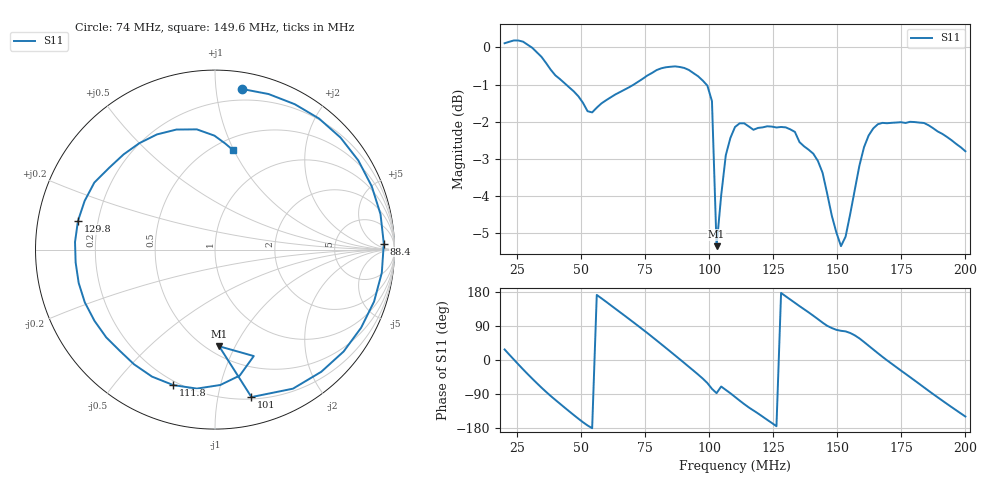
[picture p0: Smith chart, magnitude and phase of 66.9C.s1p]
# HZ S RI R 50
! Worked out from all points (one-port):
!   101 points, 20 MHz to 200 MHz, reference 50 ohm
!   lowest |S11| = -5.4 dB at 102.8 MHz (marker M1), VSWR 3.34, Z = 28.5 - j43.3 ohm
!   |S11| at or under -10 dB: nowhere
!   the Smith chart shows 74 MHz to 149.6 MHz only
!   S11 on the Smith chart (normalised r, x): 74 MHz: 0.12, +1.18; 88.4 MHz: 24, +14; 101 MHz: 0.22, -1.25; 111.8 MHz: 0.18, -0.72; 129.8 MHz: 0.12, +0.10; 149.6 MHz: 0.61, +0.99
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2e7  0.8963 0.4724
2.54e7  1 -0.2093
3.26e7  0.4746 -0.8632
3.8e7  -0.0795 -0.93
4.34e7  -0.5175 -0.7303
4.88e7  -0.7774 -0.3662
5.6e7  -0.8208 0.1189
6.5e7  -0.5186 0.699
7.4e7  0.1521 0.8947
8.12e7  0.6995 0.6239
8.84e7  0.9405 0.0339
9.56e7  0.7167 -0.5676
1.01e8  0.2031 -0.8217
1.028e8  0.0231 -0.5387
1.046e8  0.2161 -0.5931
1.1e8  -0.1006 -0.7744
1.118e8  -0.2317 -0.7551
1.226e8  -0.7254 -0.2939
1.298e8  -0.7636 0.1596
1.334e8  -0.6722 0.3737
1.424e8  -0.2148 0.6689
1.496e8  0.1015 0.5533
1.55e8  0.1908 0.5644
1.604e8  0.4952 0.5411
1.676e8  0.7826 0.1151
1.784e8  0.5587 -0.5637
1.874e8  0.000419 -0.778
2e8  -0.622 -0.3711
